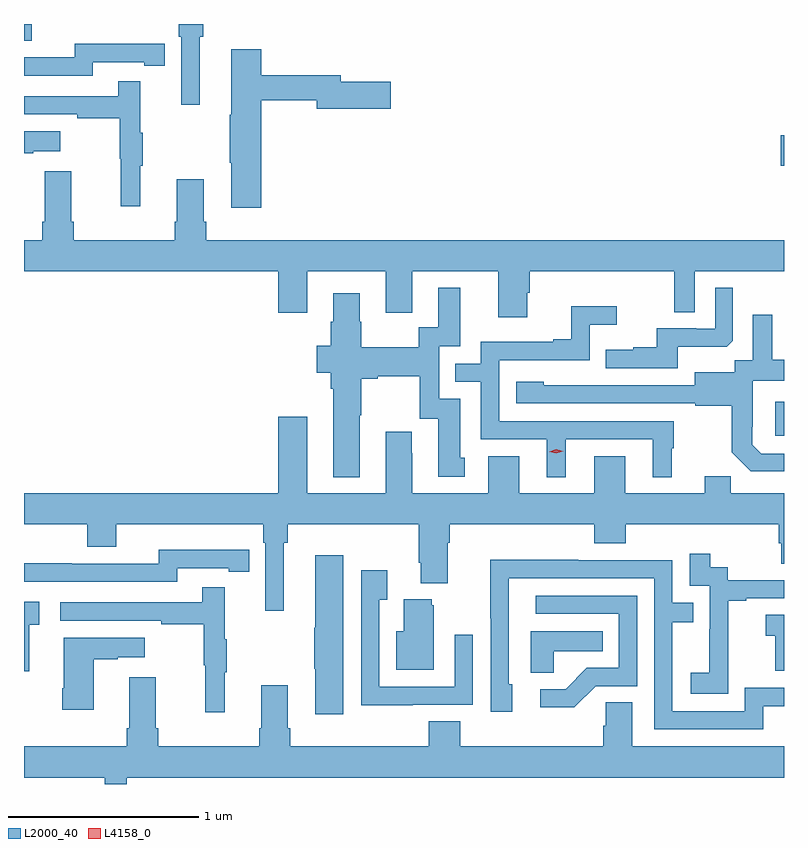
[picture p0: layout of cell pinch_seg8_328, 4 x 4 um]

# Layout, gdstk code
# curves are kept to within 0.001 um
import gdstk
lib = gdstk.Library(unit=1e-6, precision=1e-09)
def R(c, l, rs):  # rectangles x0, y0, x1, y1
    for r in rs: c.add(gdstk.rectangle(r[:2], r[2:], *l))
def P(c, l, *ps):  # polygons
    for p in ps: c.add(gdstk.Polygon(p, *l))
L2000_40 = (2000, 40)
L4158_0 = (4158, 0)

pinch_seg8_328 = lib.new_cell('pinch_seg8_328')
R(pinch_seg8_328, L2000_40, [(449.699,1130.286,449.744,1130.467), (449.726,1131.707,449.744,1131.868), (445.744,1132.367,445.786,1132.454)])
P(pinch_seg8_328, L2000_40, [(446.668,1132.388),(446.687,1132.388),(446.687,1132.454),(446.558,1132.454),(446.558,1132.388),(446.571,1132.388),(446.571,1132.029),(446.668,1132.029)],
  [(446.106,1132.254),(446.378,1132.254),(446.378,1132.234),(446.486,1132.234),(446.486,1132.35),(446.378,1132.35),(446.378,1132.351),(446.01,1132.351),(446.01,1132.278),(445.744,1132.278),(445.744,1132.182),(446.106,1132.182)],
  [(446.993,1132.054),(447.284,1132.054),(447.284,1132.007),(447.673,1132.007),(447.673,1132.149),(447.412,1132.149),(447.412,1132.183),(446.993,1132.183),(446.993,1132.321),(446.834,1132.321),(446.834,1131.977),(446.827,1131.977),(446.827,1131.724),(446.834,1131.724),(446.834,1131.486),(446.993,1131.486)],
  [(446.357,1131.707),(446.368,1131.707),(446.368,1131.881),(446.357,1131.881),(446.357,1132.153),(446.239,1132.153),(446.239,1132.074),(445.744,1132.074),(445.744,1131.978),(446.023,1131.978),(446.023,1131.958),(446.247,1131.958),(446.247,1131.744),(446.254,1131.744),(446.254,1131.495),(446.357,1131.495)],
  [(445.793,1131.785),(445.936,1131.785),(445.936,1131.889),(445.744,1131.889),(445.744,1131.775),(445.793,1131.775)],
  [(448.393,1131.039),(448.406,1131.039),(448.406,1131.152),(449.166,1131.152),(449.166,1130.938),(449.274,1130.938),(449.274,1131.152),(449.744,1131.152),(449.744,1131.316),(446.702,1131.316),(446.702,1131.412),(446.689,1131.412),(446.689,1131.637),(446.549,1131.637),(446.549,1131.412),(446.537,1131.412),(446.537,1131.316),(446.006,1131.316),(446.006,1131.412),(445.993,1131.412),(445.993,1131.679),(445.853,1131.679),(445.853,1131.412),(445.841,1131.412),(445.841,1131.316),(445.744,1131.316),(445.744,1131.152),(447.083,1131.152),(447.083,1130.934),(447.235,1130.934),(447.235,1131.152),(447.647,1131.152),(447.647,1130.934),(447.787,1130.934),(447.787,1131.152),(448.241,1131.152),(448.241,1130.91),(448.393,1130.91)],
  [(447.511,1130.395),(447.519,1130.395),(447.519,1130.588),(447.607,1130.588),(447.607,1130.6),(447.827,1130.6),(447.827,1130.376),(447.923,1130.376),(447.923,1130.07),(448.063,1130.07),(448.063,1130.172),(448.039,1130.172),(448.039,1130.481),(447.93,1130.481),(447.93,1130.757),(448.039,1130.757),(448.039,1131.067),(447.923,1131.067),(447.923,1130.858),(447.822,1130.858),(447.822,1130.752),(447.519,1130.752),(447.519,1130.886),(447.511,1130.886),(447.511,1131.037),(447.371,1131.037),(447.371,1130.886),(447.359,1130.886),(447.359,1130.76),(447.284,1130.76),(447.284,1130.618),(447.359,1130.618),(447.359,1130.534),(447.371,1130.534),(447.371,1130.069),(447.511,1130.069)],
  [(449.185,1130.756),(449.443,1130.756),(449.475,1130.787),(449.475,1131.067),(449.382,1131.067),(449.382,1130.85),(449.282,1130.85),(449.282,1130.853),(449.075,1130.853),(449.075,1130.752),(448.951,1130.752),(448.951,1130.74),(448.807,1130.74),(448.807,1130.643),(449.185,1130.643)],
  [(448.594,1130.268),(449.054,1130.268),(449.054,1130.069),(449.152,1130.069),(449.152,1130.22),(449.164,1130.22),(449.164,1130.364),(448.245,1130.364),(448.245,1130.685),(448.722,1130.685),(448.722,1130.87),(448.864,1130.87),(448.864,1130.969),(448.624,1130.969),(448.624,1130.794),(448.529,1130.794),(448.529,1130.781),(448.149,1130.781),(448.149,1130.667),(448.015,1130.667),(448.015,1130.571),(448.149,1130.571),(448.149,1130.268),(448.496,1130.268),(448.496,1130.069),(448.594,1130.069)],
  [(449.744,1130.193),(449.625,1130.193),(449.578,1130.24),(449.578,1130.335),(449.58,1130.335),(449.58,1130.576),(449.744,1130.576),(449.744,1130.686),(449.683,1130.686),(449.683,1130.923),(449.579,1130.923),(449.579,1130.684),(449.484,1130.684),(449.484,1130.62),(449.273,1130.62),(449.273,1130.553),(448.479,1130.554),(448.479,1130.572),(448.335,1130.572),(448.335,1130.457),(449.277,1130.457),(449.277,1130.445),(449.469,1130.445),(449.469,1130.199),(449.569,1130.099),(449.744,1130.099)],
  [(447.787,1130.195),(447.784,1130.195),(447.784,1130.308),(447.647,1130.308),(447.647,1129.984),(447.235,1129.984),(447.235,1130.386),(447.083,1130.386),(447.083,1129.984),(445.744,1129.984),(445.744,1129.82),(446.078,1129.82),(446.078,1129.703),(446.23,1129.703),(446.23,1129.82),(447.002,1129.82),(447.002,1129.724),(447.015,1129.724),(447.015,1129.365),(447.112,1129.365),(447.112,1129.724),(447.131,1129.724),(447.131,1129.82),(447.821,1129.82),(447.821,1129.618),(447.833,1129.618),(447.833,1129.511),(447.973,1129.511),(447.973,1129.724),(447.986,1129.724),(447.986,1129.82),(448.745,1129.82),(448.745,1129.721),(448.91,1129.721),(448.91,1129.82),(449.717,1129.82),(449.717,1129.722),(449.729,1129.722),(449.729,1129.612),(449.744,1129.612),(449.744,1129.984),(449.465,1129.984),(449.465,1130.075),(449.327,1130.075),(449.327,1129.984),(448.909,1129.984),(448.909,1130.179),(448.745,1130.179),(448.745,1129.984),(448.351,1129.984),(448.351,1130.179),(448.187,1130.179),(448.187,1129.984),(447.787,1129.984)],
  [(446.55,1129.59),(446.822,1129.59),(446.822,1129.57),(446.93,1129.57),(446.93,1129.686),(446.822,1129.686),(446.822,1129.687),(446.454,1129.687),(446.454,1129.614),(445.994,1129.614),(445.994,1129.616),(445.744,1129.616),(445.744,1129.518),(446.55,1129.518)],
  [(449.451,1129.135),(449.45,1129.135),(449.45,1129.419),(449.545,1129.419),(449.545,1129.431),(449.744,1129.431),(449.744,1129.527),(449.448,1129.527),(449.448,1129.596),(449.356,1129.596),(449.356,1129.666),(449.247,1129.666),(449.247,1129.497),(449.352,1129.497),(449.352,1129.268),(449.351,1129.268),(449.351,1129.039),(449.253,1129.039),(449.253,1128.929),(449.451,1128.929)],
  [(447.424,1129.657),(447.278,1129.657),(447.278,1129.277),(447.271,1129.277),(447.271,1129.06),(447.278,1129.06),(447.278,1128.822),(447.424,1128.822)],
  [(449.635,1128.864),(449.744,1128.864),(449.744,1128.96),(449.538,1128.96),(449.538,1128.837),(449.157,1128.837),(449.157,1129.306),(449.267,1129.306),(449.267,1129.407),(449.157,1129.407),(449.157,1129.632),(448.661,1129.632),(448.661,1129.634),(448.198,1129.634),(448.198,1129.327),(448.2,1129.327),(448.2,1128.834),(448.315,1128.834),(448.315,1128.978),(448.296,1128.978),(448.296,1129.536),(449.061,1129.536),(449.061,1128.741),(449.635,1128.741)],
  [(447.791,1128.87),(448.107,1128.87),(448.107,1129.24),(448.011,1129.24),(448.011,1128.966),(447.615,1128.966),(447.615,1129.423),(447.655,1129.423),(447.655,1129.579),(447.519,1129.579),(447.519,1128.869),(447.791,1128.869)],
  [(446.801,1129.043),(446.812,1129.043),(446.812,1129.217),(446.801,1129.217),(446.801,1129.489),(446.683,1129.489),(446.683,1129.41),(445.935,1129.41),(445.935,1129.314),(446.467,1129.314),(446.467,1129.294),(446.691,1129.294),(446.691,1129.08),(446.698,1129.08),(446.698,1128.831),(446.801,1128.831)],
  [(448.752,1128.969),(448.971,1128.969),(448.971,1129.446),(448.437,1129.446),(448.437,1129.35),(448.875,1129.35),(448.875,1129.065),(448.706,1129.065),(448.595,1128.954),(448.461,1128.954),(448.461,1128.857),(448.639,1128.857)],
  [(447.901,1129.395),(447.89,1129.395),(447.89,1129.426),(447.743,1129.426),(447.743,1129.258),(447.704,1129.258),(447.704,1129.055),(447.901,1129.055)],
  [(445.772,1129.293),(445.825,1129.293),(445.825,1129.414),(445.744,1129.414),(445.744,1129.047),(445.772,1129.047)],
  [(449.744,1129.345),(449.649,1129.345),(449.649,1129.235),(449.698,1129.235),(449.698,1129.05),(449.744,1129.05)],
  [(448.533,1129.154),(448.79,1129.154),(448.79,1129.258),(448.412,1129.258),(448.412,1129.039),(448.533,1129.039)],
  [(446.11,1129.111),(446.237,1129.111),(446.237,1129.121),(446.38,1129.121),(446.38,1129.225),(445.952,1129.225),(445.952,1128.958),(445.945,1128.958),(445.945,1128.846),(446.11,1128.846)],
  [(446.285,1128.488),(449.744,1128.488),(449.744,1128.652),(448.945,1128.652),(448.945,1128.884),(448.806,1128.884),(448.806,1128.761),(448.793,1128.761),(448.793,1128.652),(448.04,1128.652),(448.04,1128.785),(447.875,1128.785),(447.875,1128.652),(447.146,1128.652),(447.146,1128.748),(447.133,1128.748),(447.133,1128.973),(446.993,1128.973),(446.993,1128.748),(446.981,1128.748),(446.981,1128.652),(446.45,1128.652),(446.45,1128.748),(446.437,1128.748),(446.437,1129.015),(446.297,1129.015),(446.297,1128.748),(446.285,1128.748),(446.285,1128.652),(445.744,1128.652),(445.744,1128.488),(446.169,1128.488),(446.169,1128.454),(446.285,1128.454)])
P(pinch_seg8_328, L4158_0, [(448.545,1130.195),(448.509,1130.204),(448.509,1130.204),(448.509,1130.204),(448.545,1130.215),(448.581,1130.206),(448.581,1130.206),(448.581,1130.206)])

lib.write_gds('pinch_seg8_328.gds')
